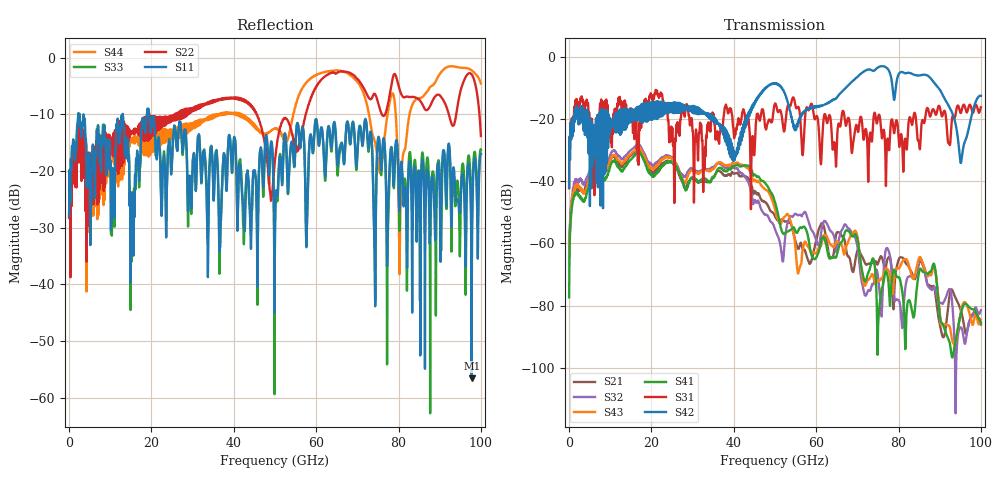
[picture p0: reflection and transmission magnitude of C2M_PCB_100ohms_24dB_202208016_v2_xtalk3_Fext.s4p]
! Info: Touchstone file created by Circ.  Input file=Intel_C2M_200G_9p5in_202208016_staggered.circ
# Hz S RI R 50
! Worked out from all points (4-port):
!   10000 points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, 10 MHz to 100 GHz, reference 50 ohm
!   strongest paths, dB at 10 MHz, 25.01 GHz, 50.01 GHz, 75.01 GHz, 100 GHz:
!     S42: -42.1, -14.9, -8.5, -3.4, -12.6
!     S31: -42.3, -23.3, -15.1, -19.7, -16.2
!     S41: -77.3, -33.8, -46.8, -87.9, -85.5
!     S43: -66.7, -32.7, -49.0, -71.8, -84.5
!     S32: -63.7, -32.4, -55.5, -70.6, -81.5
!     S21: -59.3, -33.9, -51.2, -66.5, -86.0
!   lowest |S11| = -56.6 dB at 97.76 GHz (marker M1), VSWR 1.00, Z = 50.1 - j0.0534 ohm
!   |S11| at or under -10 dB: 2.554 GHz to 13 GHz (10.44 GHz wide, 134 % of centre); 13.05 GHz to 18.91 GHz (5.861 GHz wide, 36.7 % of centre); 19.41 GHz to end of sweep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
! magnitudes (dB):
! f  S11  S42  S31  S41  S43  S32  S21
! 10 MHz  -27.9  -42.1  -42.3  -77.3  -66.7  -63.7  -59.3
! 1.38 GHz  -16.5  -20.5  -16.5  -44.6  -42.8  -40.5  -42.7
! 16.83 GHz  -17.4  -17.4  -32.2  -30.7  -29.2  -28.3  -29.7
! 66.13 GHz  -15.1  -11.4  -19.6  -59.6  -60.2  -55.9  -57.4
! 80.35 GHz  -22.2  -5.1  -27.2  -71.6  -67.5  -79.5  -64.5
! 97.76 GHz  -56.6  -18.7  -17.0  -81.1  -85.5  -83.7  -83.2
! 100 GHz  -16.9  -12.6  -16.2  -85.5  -84.5  -81.5  -86.0
